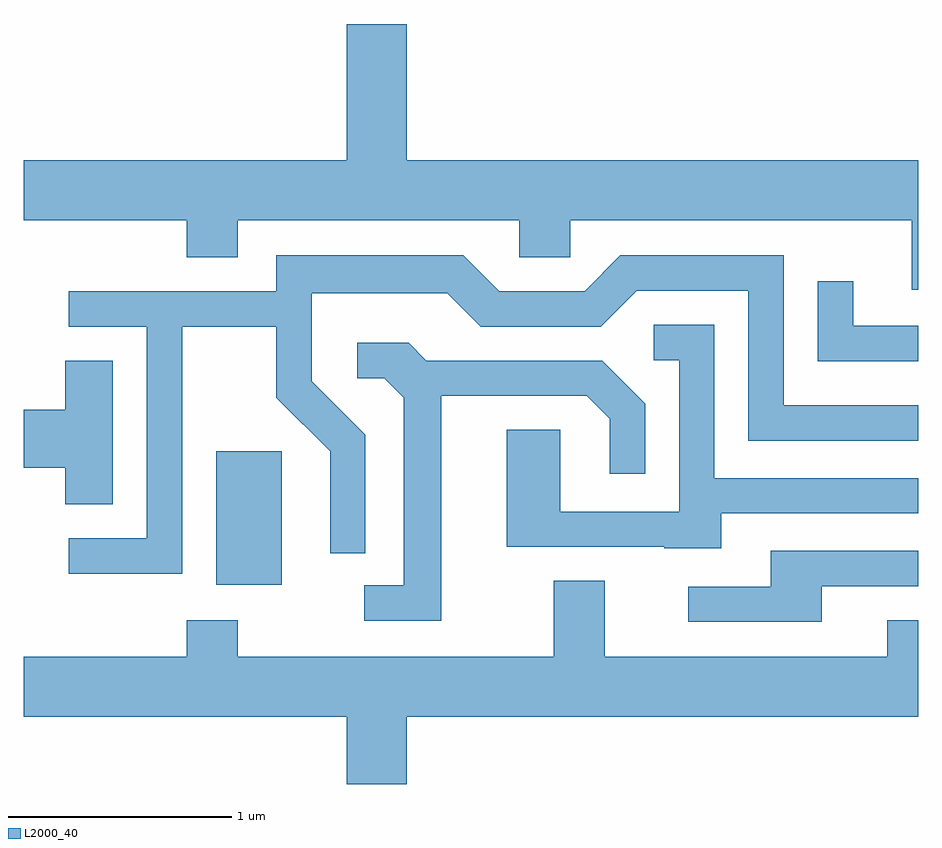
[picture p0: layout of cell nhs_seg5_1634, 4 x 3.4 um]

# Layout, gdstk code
import gdstk
lib = gdstk.Library(unit=1e-6, precision=1e-09)
def R(c, l, rs):  # rectangles x0, y0, x1, y1
    for r in rs: c.add(gdstk.rectangle(r[:2], r[2:], *l))
def P(c, l, *ps):  # polygons
    for p in ps: c.add(gdstk.Polygon(p, *l))
L2000_40 = (2000, 40)

nhs_seg5_1634 = lib.new_cell('nhs_seg5_1634')
R(nhs_seg5_1634, L2000_40, [(234.471,1432.966,234.764,1433.564)])
P(nhs_seg5_1634, L2000_40, [(237.611,1434.864),(235.324,1434.864),(235.324,1435.474),(235.056,1435.474),(235.056,1434.864),(233.611,1434.864),(233.611,1434.596),(234.341,1434.596),(234.341,1434.431),(234.569,1434.431),(234.569,1434.596),(235.826,1434.596),(235.826,1434.431),(236.054,1434.431),(236.054,1434.596),(237.581,1434.596),(237.581,1434.286),(237.611,1434.286)],
  [(234.319,1434.121),(234.741,1434.121),(234.741,1433.804),(234.981,1433.564),(234.981,1433.108),(235.139,1433.108),(235.139,1433.637),(234.899,1433.877),(234.899,1434.271),(235.504,1434.271),(235.654,1434.121),(236.192,1434.121),(236.352,1434.281),(236.851,1434.281),(236.851,1433.611),(237.611,1433.611),(237.611,1433.769),(237.009,1433.769),(237.009,1434.439),(236.279,1434.439),(236.119,1434.279),(235.737,1434.279),(235.577,1434.439),(234.741,1434.439),(234.741,1434.279),(233.813,1434.279),(233.813,1434.121),(234.161,1434.121),(234.161,1433.174),(233.813,1433.174),(233.813,1433.016),(234.319,1433.016)],
  [(237.611,1434.124),(237.319,1434.124),(237.319,1434.323),(237.161,1434.323),(237.161,1433.966),(237.611,1433.966)],
  [(236.729,1433.286),(237.611,1433.286),(237.611,1433.444),(236.699,1433.444),(236.699,1434.129),(236.428,1434.129),(236.428,1433.971),(236.541,1433.971),(236.541,1433.294),(236.009,1433.294),(236.009,1433.659),(235.771,1433.659),(235.771,1433.136),(236.475,1433.136),(236.475,1433.131),(236.729,1433.131)],
  [(235.479,1433.811),(236.129,1433.811),(236.231,1433.709),(236.231,1433.463),(236.389,1433.463),(236.389,1433.777),(236.197,1433.969),(235.412,1433.969),(235.332,1434.049),(235.103,1434.049),(235.103,1433.891),(235.224,1433.891),(235.311,1433.804),(235.311,1432.964),(235.133,1432.964),(235.133,1432.806),(235.479,1432.806)],
  [(234.009,1433.969),(233.796,1433.969),(233.796,1433.749),(233.611,1433.749),(233.611,1433.491),(233.796,1433.491),(233.796,1433.326),(234.009,1433.326)],
  [(237.179,1432.961),(237.611,1432.961),(237.611,1433.119),(236.951,1433.119),(236.951,1432.959),(236.583,1432.959),(236.583,1432.801),(237.179,1432.801)],
  [(235.324,1432.376),(237.611,1432.376),(237.611,1432.809),(237.471,1432.809),(237.471,1432.644),(236.209,1432.644),(236.209,1432.984),(235.981,1432.984),(235.981,1432.644),(234.569,1432.644),(234.569,1432.809),(234.341,1432.809),(234.341,1432.644),(233.611,1432.644),(233.611,1432.376),(235.056,1432.376),(235.056,1432.076),(235.324,1432.076)])

lib.write_gds('nhs_seg5_1634.gds')
